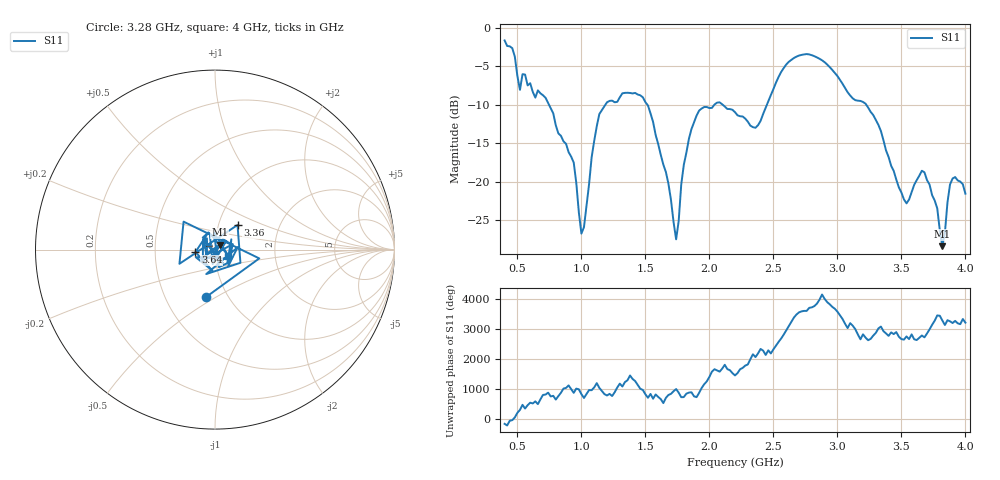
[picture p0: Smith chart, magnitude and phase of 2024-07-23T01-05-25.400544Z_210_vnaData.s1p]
!Created with skrf (http://scikit-rf.org).
# Hz S RI R 50.0
!freq ReS11 ImS11
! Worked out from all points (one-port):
!   181 points, 400 MHz to 4 GHz, reference 50 ohm
!   lowest |S11| = -28.4 dB at 3.82 GHz (marker M1), VSWR 1.08, Z = 52.7 + j2.86 ohm
!   |S11| at or under -10 dB: 747.3 MHz to 1.188 GHz (440.3 MHz wide, 45.5 % of centre); 1.515 GHz to 2.039 GHz (523.8 MHz wide, 29.5 % of centre); 3.225 GHz to end of sweep (the widest 3 of 4)
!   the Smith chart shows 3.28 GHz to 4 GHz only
!   S11 on the Smith chart (normalised r, x): 3.28 GHz: 0.79, -0.45; 3.36 GHz: 1.23, +0.35; 3.64 GHz: 0.80, -0.02; 4 GHz: 1.16, -0.09
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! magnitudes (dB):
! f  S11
! 400 MHz  -1.7
! 460 MHz  -2.7
! 520 MHz  -8.1
! 560 MHz  -6.1
! 720 MHz  -9.1
! 860 MHz  -14.8
! 940 MHz  -17.5
! 1 GHz  -26.7
! 1.14 GHz  -11.2
! 1.3 GHz  -9.0
! 1.52 GHz  -10.1
! 1.68 GHz  -20.3
! 1.74 GHz  -27.5
! 1.76 GHz  -25.1
! 1.8 GHz  -17.8
! 1.92 GHz  -10.8
! 2.2 GHz  -11.0
! 2.36 GHz  -13.0
! 2.66 GHz  -3.9
! 3.1 GHz  -8.8
! 3.28 GHz  -11.3
! 3.36 GHz  -14.6
! 3.56 GHz  -22.3
! 3.64 GHz  -19.2
! 3.72 GHz  -20.4
! 3.82 GHz  -28.4
! 3.9 GHz  -19.6
! 4 GHz  -21.5
